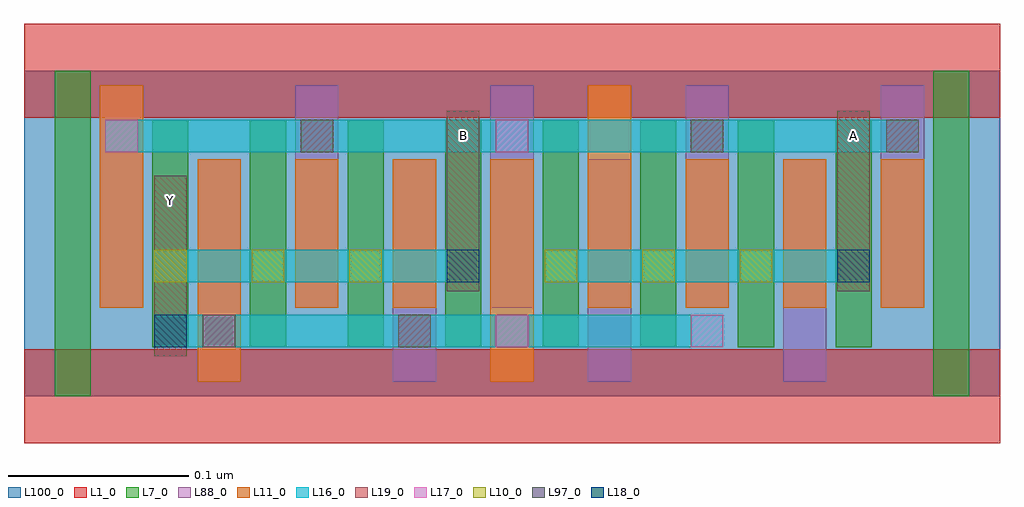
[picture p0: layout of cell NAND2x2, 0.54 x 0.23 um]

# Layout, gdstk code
import gdstk
lib = gdstk.Library(unit=1e-6, precision=2.5e-10)
def R(c, l, rs):  # rectangles x0, y0, x1, y1
    for r in rs: c.add(gdstk.rectangle(r[:2], r[2:], *l))
def A(c, l, x, y, w, h, nx, ny, dx, dy):  # array of equal rectangles
    R(c, l, [(x+i*dx, y+j*dy, x+i*dx+w, y+j*dy+h) for i in range(nx) for j in range(ny)])
L1_0 = (1, 0)
L7_0 = (7, 0)
L10_0 = (10, 0)
L11_0 = (11, 0)
L16_0 = (16, 0)
L17_0 = (17, 0)
L18_0 = (18, 0)
L19_0 = (19, 0)
L88_0 = (88, 0)
L97_0 = (97, 0)
L100_0 = (100, 0)

nand2x2 = lib.new_cell('NAND2x2')
R(nand2x2, L1_0, [(0,-0.026,0.54,0.026), (0,0.154,0.54,0.206)])
A(nand2x2, L7_0, 0.071, 0.027, 0.02, 0.126, 8, 1, 0.054, 0)
R(nand2x2, L7_0, [(0.017,0,0.037,0.18), (0.503,0,0.523,0.18)])
A(nand2x2, L10_0, 0.072, 0.063, 0.018, 0.018, 8, 1, 0.054, 0)
A(nand2x2, L11_0, 0.366, 0.049, 0.024, 0.082, 3, 1, 0.054, 0)
R(nand2x2, L11_0, [(0.096,0.008,0.12,0.131), (0.258,0.008,0.282,0.131), (0.042,0.049,0.066,0.172), (0.15,0.049,0.174,0.131), (0.204,0.049,0.228,0.131), (0.312,0.049,0.336,0.172)])
R(nand2x2, L16_0, [(0.072,0.027,0.387,0.045), (0.072,0.063,0.252,0.081), (0.288,0.063,0.468,0.081), (0.045,0.135,0.495,0.153)])
A(nand2x2, L17_0, 0.045, 0.135, 0.018, 0.018, 5, 1, 0.108, 0)
R(nand2x2, L17_0, [(0.099,0.027,0.117,0.045), (0.207,0.027,0.225,0.045), (0.261,0.027,0.279,0.045), (0.369,0.027,0.387,0.045)])
R(nand2x2, L18_0, [(0.072,0.027,0.09,0.045), (0.234,0.063,0.252,0.081), (0.45,0.063,0.468,0.081)])
R(nand2x2, L19_0, [(0.072,0.022,0.09,0.122), (0.234,0.058,0.252,0.158), (0.45,0.058,0.468,0.158)])
A(nand2x2, L88_0, 0.096, 0.008, 0.024, 0.123, 4, 1, 0.108, 0)
A(nand2x2, L88_0, 0.042, 0.049, 0.024, 0.123, 5, 1, 0.108, 0)
R(nand2x2, L97_0, [(0.099,0.027,0.117,0.045), (0.207,0.027,0.225,0.045), (0.153,0.135,0.171,0.153), (0.369,0.135,0.387,0.153), (0.477,0.135,0.495,0.153)])
R(nand2x2, L100_0, [(0,0,0.54,0.18)])
nand2x2.add(gdstk.Label('A', (0.459,0.144), layer=19, texttype=251))
nand2x2.add(gdstk.Label('B', (0.243,0.144), layer=19, texttype=251))
nand2x2.add(gdstk.Label('Y', (0.081,0.108), layer=19, texttype=251))

lib.write_gds('NAND2x2.gds')
